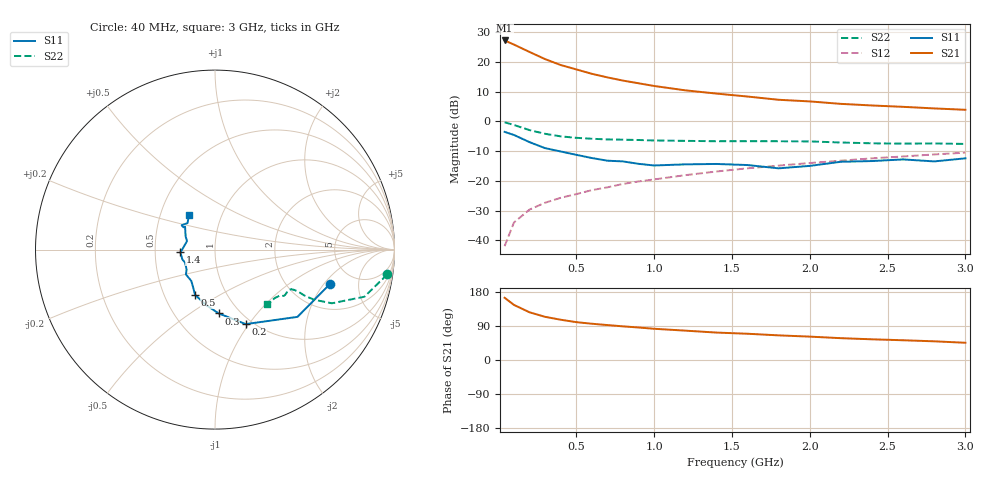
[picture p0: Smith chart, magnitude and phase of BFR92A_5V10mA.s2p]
! Filename:  BFR92AC.S2P  Version:  2.0
! NXP part #: BFR92A  Date: May 1990
! Bias condition: Vce=5V, Ic=10mA
#  MHz  S  MA  R  50
! Freq  S11  S21  S12  S22  !GUM [dB]
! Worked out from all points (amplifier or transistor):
!   21 points, 40 MHz to 3 GHz, reference 50 ohm
!   highest |S21| = 27.2 dB at 40 MHz (marker M1)
!   |S21| within 3 dB of that: start of sweep to 165.1 MHz
!   unconditionally stable (mu >= 1): 947.1 MHz to 2.494 GHz
!   at 300 MHz: K = 0.71, MSG = 24.2 dB, |S12| = -27.3 dB
!   at 1 GHz: K = 1.02, MAG = 14.9 dB, |S12| = -19.5 dB
!   at 3 GHz: K = 0.98, MSG = 7.2 dB, |S12| = -10.5 dB
!   S11 on the Smith chart (normalised r, x): 40 MHz: 3.34, -2.31; 200 MHz: 0.93, -0.97; 300 MHz: 0.80, -0.65; 500 MHz: 0.71, -0.39; 1.4 GHz: 0.68, -0.02; 3 GHz: 0.70, +0.28
40  0.669 -16.6  23.02 164.2  0.008 79.9  0.97 -8.2
100  0.593 -39.2  19.63 145.4  0.02 72.1  0.873 -17.5
200  0.449 -67.6  14.75 125.9  0.033 68.7  0.716 -24.7
300  0.356 -86.7  11.18 113.9  0.043 66.2  0.62 -26.8
400  0.313 -99.2  8.899 106.3  0.052 68.0  0.562 -27.2
500  0.275 -113.9  7.512 99.9  0.06 67.4  0.531 -26.9
600  0.243 -120.1  6.336 95.7  0.07 69.7  0.512 -26.9
700  0.219 -127.0  5.513 92.2  0.078 71.3  0.499 -26.9
800  0.213 -139.5  4.868 88.8  0.089 72.4  0.494 -27.0
900  0.194 -144.7  4.391 85.8  0.098 72.5  0.488 -27.2
1000  0.182 -156.2  3.953 82.4  0.106 73.1  0.479 -27.4
1200  0.19 -163.4  3.339 77.5  0.125 73.5  0.472 -28.3
1400  0.193 -175.5  2.945 72.4  0.144 73.3  0.465 -30.1
1600  0.185 -179.0  2.626 69.3  0.163 73.6  0.466 -31.4
1800  0.163 163.1  2.316 65.0  0.181 73.3  0.465 -32.8
2000  0.179 156.0  2.174 61.7  0.2 72.6  0.462 -34.0
2200  0.21 142.6  1.977 57.6  0.219 72.5  0.443 -35.4
2400  0.216 144.8  1.857 54.6  0.24 71.1  0.429 -38.9
2600  0.23 143.8  1.762 52.1  0.258 70.5  0.424 -42.4
2800  0.213 136.1  1.657 49.3  0.279 70.0  0.427 -44.9
3000  0.24 127.1  1.571 45.5  0.299 68.6  0.419 -46.0
